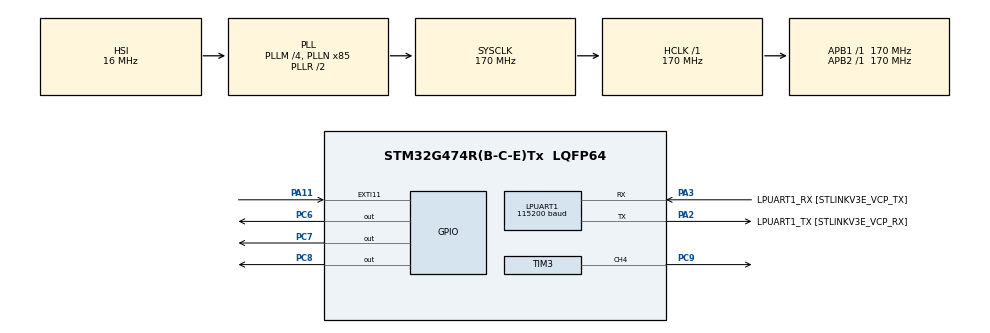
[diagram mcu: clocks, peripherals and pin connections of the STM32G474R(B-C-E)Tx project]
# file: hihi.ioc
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LPUART1.BaudRate=115200
Mcu.Family=STM32G4
Mcu.Name=STM32G474R(B-C-E)Tx
Mcu.Package=LQFP64
NVIC.EXTI15_10_IRQn=true\:1\:0\:true\:false\:true\:true\:true\:true
NVIC.LPUART1_IRQn=true\:0\:0\:false\:false\:true\:true\:true\:true
NVIC.PriorityGroup=NVIC_PRIORITYGROUP_4
PA11.GPIO_PuPd=GPIO_PULLUP
PA11.Signal=GPXTI11
PA13.GPIO_Label=T_SWDIO
PA13.Mode=Serial_Wire
PA13.Signal=SYS_JTMS-SWDIO
PA14.GPIO_Label=T_SWCLK
PA14.Mode=Serial_Wire
PA14.Signal=SYS_JTCK-SWCLK
PA2.GPIO_Label=LPUART1_TX [STLINKV3E_VCP_RX]
PA2.Mode=Asynchronous
PA2.Signal=LPUART1_TX
PA3.GPIO_Label=LPUART1_RX [STLINKV3E_VCP_TX]
PA3.Mode=Asynchronous
PA3.Signal=LPUART1_RX
PB3.GPIO_Label=T_SWO
PB3.Signal=SYS_JTDO-SWO
PC14-OSC32_IN.GPIO_Label=RCC_OSC32_IN
PC14-OSC32_IN.Signal=RCC_OSC32_IN
PC15-OSC32_OUT.GPIO_Label=RCC_OSC32_OUT
PC15-OSC32_OUT.Signal=RCC_OSC32_OUT
PC6.Signal=GPIO_Output
PC7.Signal=GPIO_Output
PC8.Signal=GPIO_Output
PC9.Signal=S_TIM3_CH4
PF0-OSC_IN.GPIO_Label=RCC_OSC_IN
PF0-OSC_IN.Signal=RCC_OSC_IN
PF1-OSC_OUT.GPIO_Label=RCC_OSC_OUT
PF1-OSC_OUT.Signal=RCC_OSC_OUT
ProjectManager.HeapSize=0x200
ProjectManager.StackSize=0x400
ProjectManager.TargetToolchain=STM32CubeIDE
RCC.ADC12Freq_Value=170000000
RCC.ADC345Freq_Value=170000000
RCC.AHBFreq_Value=170000000
RCC.APB1Freq_Value=170000000
RCC.APB1TimFreq_Value=170000000
RCC.APB2Freq_Value=170000000
RCC.APB2TimFreq_Value=170000000
RCC.CortexFreq_Value=170000000
RCC.EXTERNAL_CLOCK_VALUE=12288000
RCC.HCLKFreq_Value=170000000
RCC.HSE_VALUE=24000000
RCC.HSI48_VALUE=48000000
RCC.HSI_VALUE=16000000
RCC.LSE_VALUE=32768
RCC.PLLM=RCC_PLLM_DIV4
RCC.PLLN=85
RCC.RTCClockSelection=RCC_RTCCLKSOURCE_LSE
RCC.SYSCLKFreq_VALUE=170000000
RCC.SYSCLKSource=RCC_SYSCLKSOURCE_PLLCLK
RCC.USBFreq_Value=170000000
RCC.VCOOutputFreq_Value=340000000
SH.S_TIM3_CH4.0=TIM3_CH4,PWM Generation4 CH4
TIM3.Channel-PWM\ Generation4\ CH4=TIM_CHANNEL_4
TIM3.PeriodNoDither=999
TIM3.Prescaler=169
VP_SYS_VS_DBSignals.Mode=DisableDeadBatterySignals
board=NUCLEO-G474RE

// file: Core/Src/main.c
/* USER CODE BEGIN Header */
/**
  ******************************************************************************
  * @file           : main.c
  * @brief          : Main program body
  ******************************************************************************
  * @attention
  *
  * Copyright (c) 2026 STMicroelectronics.
  * All rights reserved.
  *
  * This software is licensed under terms that can be found in the LICENSE file
  * in the root directory of this software component.
  * If no LICENSE file comes with this software, it is provided AS-IS.
  *
  ******************************************************************************
  */
/* USER CODE END Header */
#include "main.h"

/* USER CODE BEGIN Includes */
#include <string.h>
#include <stdint.h>
/* USER CODE END Includes */

/* USER CODE BEGIN PTD */
typedef enum {
  MODE_IDLE = 0,      /* 待機：等待 UART 指令          */
  MODE_BANANA,        /* 黃燈閃爍 + 蜂鳴器呼吸音量      */
  MODE_WATERMELON,    /* 綠燈閃爍 + 蜂鳴器呼吸音量      */
  MODE_RED            /* 紅燈恆亮，其他燈與蜂鳴器關閉   */
} AppMode_t;
/* USER CODE END PTD */

/* USER CODE BEGIN PD */
/* ---- LED 腳位 ---- */
#define LED_PORT            GPIOC
#define LED_RED_PIN         GPIO_PIN_8   /* 紅燈 PC8 */
#define LED_YELLOW_PIN      GPIO_PIN_6   /* 黃燈 PC6 */
#define LED_GREEN_PIN       GPIO_PIN_7   /* 綠燈 PC7 */
#define LED_ALL_PINS        (LED_RED_PIN | LED_YELLOW_PIN | LED_GREEN_PIN)

/* ---- 按鈕 B1：PA11，上拉，上升緣中斷 ---- */
#define BTN_PORT            GPIOA
#define BTN_PIN             GPIO_PIN_11

/* ---- 蜂鳴器：TIM3 CH4，170MHz/(169+1)=1MHz，ARR=999 → 1kHz ---- */
#define BUZZER_CHANNEL      TIM_CHANNEL_4
#define BUZZER_MAX_DUTY     500U      /* 50% duty = 最大音量 */

/* ---- 時間參數 (ms) ---- */
#define RUN_TIME_MS         10000U    /* 動作維持 10 秒          */
#define BREATH_PERIOD_MS    3000U     /* 呼吸一個循環 3 秒       */
#define BLINK_HALF_MS       250U      /* LED 亮 250ms / 滅 250ms */
#define DEBOUNCE_MS         50U       /* 按鈕防彈跳 50ms         */
#define DOUBLE_CLICK_MS     500U      /* 兩下需在 500ms 內       */

/* ---- 緩衝區大小 ---- */
#define RX_RING_SIZE        128U      /* 必須是 2 的次方         */
#define LINE_BUF_SIZE       32U
/* USER CODE END PD */

UART_HandleTypeDef hlpuart1;

TIM_HandleTypeDef htim3;

/* USER CODE BEGIN PV */
/* ---- Ring buffer（UART 中斷寫入，主迴圈讀出） ---- */
static uint8_t           rxRing[RX_RING_SIZE];
static volatile uint16_t rxHead = 0;
static volatile uint16_t rxTail = 0;
static volatile uint8_t  rxOverflow = 0;
static uint8_t           rxByte;

/* ---- Line buffer ---- */
static char     lineBuf[LINE_BUF_SIZE];
static uint16_t lineLen = 0;
static uint8_t  lineTooLong = 0;

/* ---- 狀態機 ---- */
static AppMode_t g_mode = MODE_IDLE;
static uint32_t  g_modeStartTick = 0;

/* ---- 按鈕 ---- */
static GPIO_PinState     btnIdleLevel = GPIO_PIN_SET;  /* 開機自動偵測 */
static volatile uint8_t  btnEdgePending = 0;           /* 中斷設定     */
static volatile uint32_t btnLastEdgeTick = 0;          /* 中斷設定     */
static uint8_t           btnClickCount = 0;
static uint32_t          btnFirstClickTick = 0;
/* USER CODE END PV */

void SystemClock_Config(void);
static void MX_GPIO_Init(void);
static void MX_LPUART1_UART_Init(void);
static void MX_TIM3_Init(void);
/* USER CODE BEGIN PFP */
static void    UART_Print(const char *s);
static uint8_t RxRing_Put(uint8_t c);
static uint8_t RxRing_Get(uint8_t *c);
static void    Line_Process(void);
static void    Command_Handle(const char *cmd);
static void    App_StartMode(AppMode_t mode);
static void    App_EnterRed(const char *reason);
static void    App_Task(void);
static void    Button_DetectIdleLevel(void);
static void    Button_Task(void);
static void    Button_OnClick(uint32_t now);
/* USER CODE END PFP */

int main(void)
{

  /* MCU Configuration--------------------------------------------------------*/

  /* Reset of all peripherals, Initializes the Flash interface and the Systick. */
  HAL_Init();

  /* Configure the system clock */
  SystemClock_Config();

  /* Initialize all configured peripherals */
  MX_GPIO_Init();
  MX_LPUART1_UART_Init();
  MX_TIM3_Init();
  /* USER CODE BEGIN 2 */
  /* PWM 先以 0% duty 啟動，之後只改 CCR */
  __HAL_TIM_SET_COMPARE(&htim3, BUZZER_CHANNEL, 0U);
  HAL_TIM_PWM_Start(&htim3, BUZZER_CHANNEL);

  HAL_GPIO_WritePin(LED_PORT, LED_ALL_PINS, GPIO_PIN_RESET);

  UART_Print("\r\nReady. Commands: banana / wattermalon\r\n");
  Button_DetectIdleLevel();               /* 自動偵測按鈕閒置電位 */

  btnEdgePending = 0U;                    /* 清掉開機時可能的雜訊 */
  HAL_UART_Receive_IT(&hlpuart1, &rxByte, 1);
  UART_Print("> ");
  /* USER CODE END 2 */

  /* Infinite loop */
  while (1)
  {

    /* USER CODE BEGIN 3 */
    Line_Process();   /* ring buffer → line buffer → 指令 */
    Button_Task();    /* 確認中斷抓到的按鈕事件（50ms 防彈跳） */
    App_Task();       /* 閃燈 / 呼吸音量 / 10 秒計時 */
  }
  /* USER CODE END 3 */
}

void SystemClock_Config(void)
{
  RCC_OscInitTypeDef RCC_OscInitStruct = {0};
  RCC_ClkInitTypeDef RCC_ClkInitStruct = {0};

  /** Configure the main internal regulator output voltage
  */
  HAL_PWREx_ControlVoltageScaling(PWR_REGULATOR_VOLTAGE_SCALE1_BOOST);

  /** Initializes the RCC Oscillators according to the specified parameters
  * in the RCC_OscInitTypeDef structure.
  */
  RCC_OscInitStruct.OscillatorType = RCC_OSCILLATORTYPE_HSI;
  RCC_OscInitStruct.HSIState = RCC_HSI_ON;
  RCC_OscInitStruct.HSICalibrationValue = RCC_HSICALIBRATION_DEFAULT;
  RCC_OscInitStruct.PLL.PLLState = RCC_PLL_ON;
  RCC_OscInitStruct.PLL.PLLSource = RCC_PLLSOURCE_HSI;
  RCC_OscInitStruct.PLL.PLLM = RCC_PLLM_DIV4;
  RCC_OscInitStruct.PLL.PLLN = 85;
  RCC_OscInitStruct.PLL.PLLP = RCC_PLLP_DIV2;
  RCC_OscInitStruct.PLL.PLLQ = RCC_PLLQ_DIV2;
  RCC_OscInitStruct.PLL.PLLR = RCC_PLLR_DIV2;
  if (HAL_RCC_OscConfig(&RCC_OscInitStruct) != HAL_OK)
  {
    Error_Handler();
  }

  /** Initializes the CPU, AHB and APB buses clocks
  */
  RCC_ClkInitStruct.ClockType = RCC_CLOCKTYPE_HCLK|RCC_CLOCKTYPE_SYSCLK
                              |RCC_CLOCKTYPE_PCLK1|RCC_CLOCKTYPE_PCLK2;
  RCC_ClkInitStruct.SYSCLKSource = RCC_SYSCLKSOURCE_PLLCLK;
  RCC_ClkInitStruct.AHBCLKDivider = RCC_SYSCLK_DIV1;
  RCC_ClkInitStruct.APB1CLKDivider = RCC_HCLK_DIV1;
  RCC_ClkInitStruct.APB2CLKDivider = RCC_HCLK_DIV1;

  if (HAL_RCC_ClockConfig(&RCC_ClkInitStruct, FLASH_LATENCY_4) != HAL_OK)
  {
    Error_Handler();
  }
}

static void MX_LPUART1_UART_Init(void)
{

  hlpuart1.Instance = LPUART1;
  hlpuart1.Init.BaudRate = 115200;
  hlpuart1.Init.WordLength = UART_WORDLENGTH_8B;
  hlpuart1.Init.StopBits = UART_STOPBITS_1;
  hlpuart1.Init.Parity = UART_PARITY_NONE;
  hlpuart1.Init.Mode = UART_MODE_TX_RX;
  hlpuart1.Init.HwFlowCtl = UART_HWCONTROL_NONE;
  hlpuart1.Init.OneBitSampling = UART_ONE_BIT_SAMPLE_DISABLE;
  hlpuart1.Init.ClockPrescaler = UART_PRESCALER_DIV1;
  hlpuart1.AdvancedInit.AdvFeatureInit = UART_ADVFEATURE_NO_INIT;
  if (HAL_UART_Init(&hlpuart1) != HAL_OK)
  {
    Error_Handler();
  }
  if (HAL_UARTEx_SetTxFifoThreshold(&hlpuart1, UART_TXFIFO_THRESHOLD_1_8) != HAL_OK)
  {
    Error_Handler();
  }
  if (HAL_UARTEx_SetRxFifoThreshold(&hlpuart1, UART_RXFIFO_THRESHOLD_1_8) != HAL_OK)
  {
    Error_Handler();
  }
  if (HAL_UARTEx_DisableFifoMode(&hlpuart1) != HAL_OK)
  {
    Error_Handler();
  }

}

static void MX_TIM3_Init(void)
{

  TIM_MasterConfigTypeDef sMasterConfig = {0};
  TIM_OC_InitTypeDef sConfigOC = {0};

  htim3.Instance = TIM3;
  htim3.Init.Prescaler = 169;
  htim3.Init.CounterMode = TIM_COUNTERMODE_UP;
  htim3.Init.Period = 999;
  htim3.Init.ClockDivision = TIM_CLOCKDIVISION_DIV1;
  htim3.Init.AutoReloadPreload = TIM_AUTORELOAD_PRELOAD_DISABLE;
  if (HAL_TIM_PWM_Init(&htim3) != HAL_OK)
  {
    Error_Handler();
  }
  sMasterConfig.MasterOutputTrigger = TIM_TRGO_RESET;
  sMasterConfig.MasterSlaveMode = TIM_MASTERSLAVEMODE_DISABLE;
  if (HAL_TIMEx_MasterConfigSynchronization(&htim3, &sMasterConfig) != HAL_OK)
  {
    Error_Handler();
  }
  sConfigOC.OCMode = TIM_OCMODE_PWM1;
  sConfigOC.Pulse = 0;
  sConfigOC.OCPolarity = TIM_OCPOLARITY_HIGH;
  sConfigOC.OCFastMode = TIM_OCFAST_DISABLE;
  if (HAL_TIM_PWM_ConfigChannel(&htim3, &sConfigOC, TIM_CHANNEL_4) != HAL_OK)
  {
    Error_Handler();
  }
  HAL_TIM_MspPostInit(&htim3);

}

static void MX_GPIO_Init(void)
{
  GPIO_InitTypeDef GPIO_InitStruct = {0};

  /* GPIO Ports Clock Enable */
  __HAL_RCC_GPIOC_CLK_ENABLE();
  __HAL_RCC_GPIOF_CLK_ENABLE();
  __HAL_RCC_GPIOA_CLK_ENABLE();
  __HAL_RCC_GPIOB_CLK_ENABLE();

  /*Configure GPIO pin Output Level */
  HAL_GPIO_WritePin(GPIOC, GPIO_PIN_6|GPIO_PIN_7|GPIO_PIN_8, GPIO_PIN_RESET);

  /*Configure GPIO pins : PC6 PC7 PC8 */
  GPIO_InitStruct.Pin = GPIO_PIN_6|GPIO_PIN_7|GPIO_PIN_8;
  GPIO_InitStruct.Mode = GPIO_MODE_OUTPUT_PP;
  GPIO_InitStruct.Pull = GPIO_NOPULL;
  GPIO_InitStruct.Speed = GPIO_SPEED_FREQ_LOW;
  HAL_GPIO_Init(GPIOC, &GPIO_InitStruct);

  /*Configure GPIO pin : PA11 */
  GPIO_InitStruct.Pin = GPIO_PIN_11;
  GPIO_InitStruct.Mode = GPIO_MODE_IT_RISING;
  GPIO_InitStruct.Pull = GPIO_PULLUP;
  HAL_GPIO_Init(GPIOA, &GPIO_InitStruct);

  /* EXTI interrupt init*/
  HAL_NVIC_SetPriority(EXTI15_10_IRQn, 1, 0);
  HAL_NVIC_EnableIRQ(EXTI15_10_IRQn);

}

/* USER CODE BEGIN 4 */

/* ======================= UART 輸出 ======================= */
static void UART_Print(const char *s)
{
  HAL_UART_Transmit(&hlpuart1, (uint8_t *)s, (uint16_t)strlen(s), 100);
}

/* ======================= Ring buffer ======================= */
/* 只在 UART 中斷呼叫（單一生產者） */
static uint8_t RxRing_Put(uint8_t c)
{
  uint16_t next = (uint16_t)((rxHead + 1U) & (RX_RING_SIZE - 1U));
  if (next == rxTail)
  {
    return 0U;                 /* 滿了，丟棄 */
  }
  rxRing[rxHead] = c;
  rxHead = next;
  return 1U;
}

/* 只在主迴圈呼叫（單一消費者） */
static uint8_t RxRing_Get(uint8_t *c)
{
  if (rxTail == rxHead)
  {
    return 0U;                 /* 空的 */
  }
  *c = rxRing[rxTail];
  rxTail = (uint16_t)((rxTail + 1U) & (RX_RING_SIZE - 1U));
  return 1U;
}

/* ======================= UART 中斷 callback ======================= */
void HAL_UART_RxCpltCallback(UART_HandleTypeDef *huart)
{
  if (huart->Instance == LPUART1)
  {
    if (!RxRing_Put(rxByte))
    {
      rxOverflow = 1U;
    }
    HAL_UART_Receive_IT(&hlpuart1, &rxByte, 1);   /* 重新啟動接收 */
  }
}

void HAL_UART_ErrorCallback(UART_HandleTypeDef *huart)
{
  if (huart->Instance == LPUART1)
  {
    __HAL_UART_CLEAR_FLAG(huart, UART_CLEAR_OREF | UART_CLEAR_NEF |
                                 UART_CLEAR_FEF  | UART_CLEAR_PEF);
    HAL_UART_Receive_IT(&hlpuart1, &rxByte, 1);
  }
}

/* ======================= Line buffer ======================= */
static void Line_Process(void)
{
  uint8_t c;

  if (rxOverflow)
  {
    rxOverflow = 0U;
    UART_Print("\r\n[WARN] RX ring buffer overflow\r\n");
  }

  while (RxRing_Get(&c))
  {
    if (c == '\r' || c == '\n')                    /* 一行結束 */
    {
      if (lineTooLong)
      {
        UART_Print("\r\n[ERR] line too long\r\n> ");
      }
      else if (lineLen > 0U)
      {
        lineBuf[lineLen] = '\0';
        UART_Print("\r\n");
        Command_Handle(lineBuf);
        UART_Print("> ");
      }
      lineLen = 0U;
      lineTooLong = 0U;
    }
    else if (c == '\b' || c == 0x7FU)              /* Backspace */
    {
      if (lineLen > 0U && !lineTooLong)
      {
        lineLen--;
        UART_Print("\b \b");
      }
    }
    else if (c >= 0x20U && c < 0x7FU)              /* 可見字元 */
    {
      if (lineLen < (LINE_BUF_SIZE - 1U))
      {
        lineBuf[lineLen++] = (char)c;
        HAL_UART_Transmit(&hlpuart1, &c, 1, 10);   /* 回顯 */
      }
      else
      {
        lineTooLong = 1U;
      }
    }
  }
}

/* ======================= 指令解析 ======================= */
static void Command_Handle(const char *cmd)
{
  if (strcmp(cmd, "banana") == 0)
  {
    App_StartMode(MODE_BANANA);
    UART_Print("[BANANA] Yellow blink + buzzer breathing, 10s. Click B1 once -> RED\r\n");
  }
  else if (strcmp(cmd, "wattermalon") == 0 || strcmp(cmd, "watermelon") == 0)
  {
    App_StartMode(MODE_WATERMELON);
    UART_Print("[WATERMELON] Green blink + buzzer breathing, 10s. Double-click B1 -> RED\r\n");
  }
  else
  {
    UART_Print("[ERR] Unknown command: ");
    UART_Print(cmd);
    UART_Print("\r\n");
  }
}

/* ======================= 狀態機 ======================= */
static void App_StartMode(AppMode_t mode)
{
  HAL_GPIO_WritePin(LED_PORT, LED_ALL_PINS, GPIO_PIN_RESET);
  __HAL_TIM_SET_COMPARE(&htim3, BUZZER_CHANNEL, 0U);
  btnClickCount   = 0U;
  g_modeStartTick = HAL_GetTick();
  g_mode          = mode;
}

static void App_EnterRed(const char *reason)
{
  if (g_mode == MODE_RED)
  {
    return;
  }
  g_mode = MODE_RED;
  HAL_GPIO_WritePin(LED_PORT, LED_ALL_PINS, GPIO_PIN_RESET);   /* 其他燈全關 */
  HAL_GPIO_WritePin(LED_PORT, LED_RED_PIN, GPIO_PIN_SET);      /* 紅燈恆亮   */
  __HAL_TIM_SET_COMPARE(&htim3, BUZZER_CHANNEL, 0U);           /* 蜂鳴器停   */

  UART_Print("\r\n[RED] ");
  UART_Print(reason);
  UART_Print("\r\n> ");
}

static void App_Task(void)
{
  uint16_t ledPin;

  if (g_mode == MODE_BANANA)
  {
    ledPin = LED_YELLOW_PIN;
  }
  else if (g_mode == MODE_WATERMELON)
  {
    ledPin = LED_GREEN_PIN;
  }
  else
  {
    return;
  }

  uint32_t elapsed = HAL_GetTick() - g_modeStartTick;

  /* 10 秒內沒觸發按鈕 → 停止並紅燈恆亮 */
  if (elapsed >= RUN_TIME_MS)
  {
    App_EnterRed("10s timeout");
    return;
  }

  /* LED 閃爍 */
  GPIO_PinState ledState = (((elapsed / BLINK_HALF_MS) & 1U) == 0U) ? GPIO_PIN_SET
                                                                      : GPIO_PIN_RESET;
  HAL_GPIO_WritePin(LED_PORT, ledPin, ledState);

  /* 呼吸燈概念：3 秒一循環，前 1.5 秒漸強、後 1.5 秒漸弱（平方曲線較平順） */
  uint32_t half  = BREATH_PERIOD_MS / 2U;
  uint32_t phase = elapsed % BREATH_PERIOD_MS;
  uint32_t level = (phase < half) ? phase : (BREATH_PERIOD_MS - phase);   /* 0 ~ half */
  uint32_t duty  = (level * level / half) * BUZZER_MAX_DUTY / half;      /* 0 ~ MAX  */
  __HAL_TIM_SET_COMPARE(&htim3, BUZZER_CHANNEL, duty);
}

/* ======================= 按鈕 ======================= */
/* 開機時取樣 16 次（約 16ms），多數決判斷閒置電位 */
static void Button_DetectIdleLevel(void)
{
  uint8_t highCount = 0U;

  for (uint8_t i = 0U; i < 16U; i++)
  {
    if (HAL_GPIO_ReadPin(BTN_PORT, BTN_PIN) == GPIO_PIN_SET)
    {
      highCount++;
    }
    HAL_Delay(1);
  }

  btnIdleLevel = (highCount >= 8U) ? GPIO_PIN_SET : GPIO_PIN_RESET;

  if (btnIdleLevel == GPIO_PIN_SET)
  {
    UART_Print("[B1] idle HIGH (pull-up): rising edge = release, click counted on release\r\n");
  }
  else
  {
    UART_Print("[B1] idle LOW: rising edge = press, click counted on press\r\n");
  }
}

/* EXTI 中斷程式：只記錄上升緣發生的時間，不在中斷裡等待 */
void HAL_GPIO_EXTI_Callback(uint16_t GPIO_Pin)
{
  if (GPIO_Pin == BTN_PIN)
  {
    btnLastEdgeTick = HAL_GetTick();     /* 每次彈跳都會刷新時間 */
    btnEdgePending  = 1U;
  }
}

/* 主迴圈：上升緣後腳位需「持續 HIGH 滿 50ms」才算一次有效按鈕
   期間讀到 LOW 代表是彈跳，直接丟棄 */
static void Button_Task(void)
{
  uint8_t  fire = 0U;
  uint32_t now;

  if (!btnEdgePending)
  {
    return;
  }

  __disable_irq();                       /* 避免和 EXTI 中斷同時改旗標 */
  now = HAL_GetTick();
  if (HAL_GPIO_ReadPin(BTN_PORT, BTN_PIN) == GPIO_PIN_RESET)
  {
    btnEdgePending = 0U;                 /* 又掉回 LOW → 彈跳 */
  }
  else if ((now - btnLastEdgeTick) >= DEBOUNCE_MS)
  {
    btnEdgePending = 0U;                 /* 穩定 HIGH 50ms → 有效 */
    fire = 1U;
  }
  __enable_irq();

  if (fire)
  {
    Button_OnClick(now);
  }
}

static void Button_OnClick(uint32_t now)
{
  switch (g_mode)
  {
    case MODE_BANANA:                    /* 按一下就紅燈 */
      App_EnterRed("B1 clicked");
      break;

    case MODE_WATERMELON:                /* 要連按兩下 */
      if (btnClickCount == 1U && (now - btnFirstClickTick) <= DOUBLE_CLICK_MS)
      {
        btnClickCount = 0U;
        App_EnterRed("B1 double-clicked");
      }
      else
      {
        btnClickCount     = 1U;          /* 第一下（或超時重新計算） */
        btnFirstClickTick = now;
        UART_Print("\r\n[B1] 1st click, click again within 500ms\r\n> ");
      }
      break;

    default:                             /* 待機 / 紅燈模式忽略按鈕 */
      btnClickCount = 0U;
      break;
  }
}

/* USER CODE END 4 */

void Error_Handler(void)
{
  __disable_irq();
  while (1)
  {
  }
}
